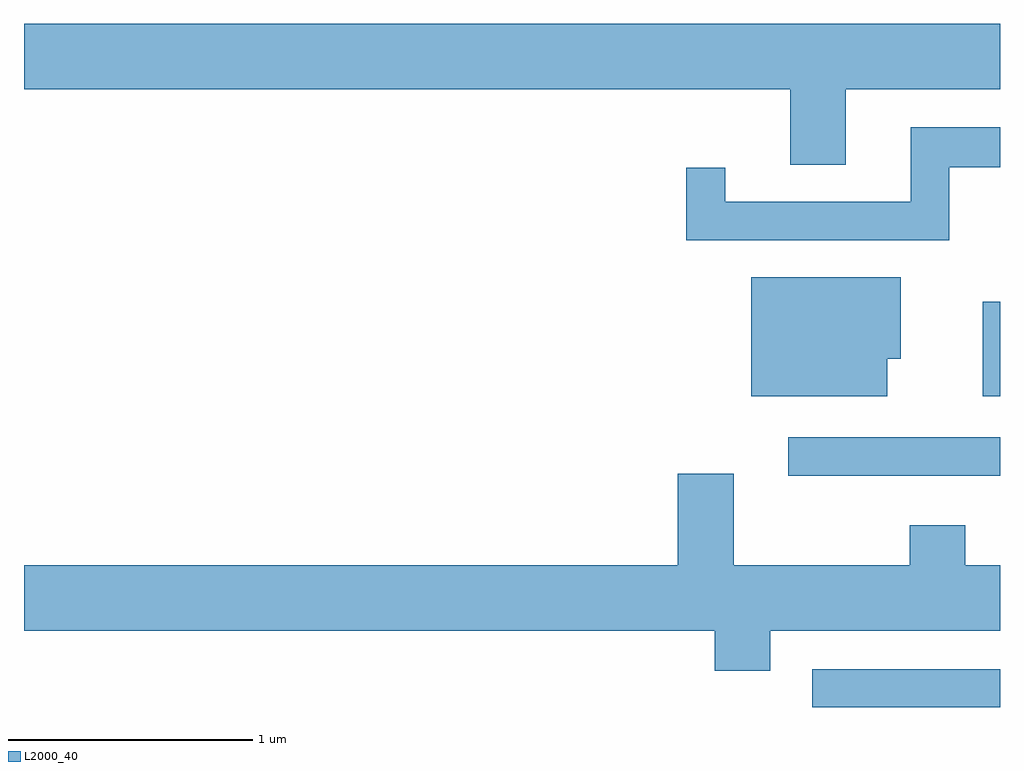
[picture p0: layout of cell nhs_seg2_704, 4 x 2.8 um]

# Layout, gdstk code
import gdstk
lib = gdstk.Library(unit=1e-6, precision=1e-09)
def R(c, l, rs):  # rectangles x0, y0, x1, y1
    for r in rs: c.add(gdstk.rectangle(r[:2], r[2:], *l))
def P(c, l, *ps):  # polygons
    for p in ps: c.add(gdstk.Polygon(p, *l))
L2000_40 = (2000, 40)

nhs_seg2_704 = lib.new_cell('nhs_seg2_704')
R(nhs_seg2_704, L2000_40, [(208.841,1025.802,209.611,1025.959), (208.743,1026.751,209.611,1026.909), (209.541,1027.076,209.611,1027.464)])
P(nhs_seg2_704, L2000_40, [(208.979,1028.336),(209.611,1028.336),(209.611,1028.604),(205.611,1028.604),(205.611,1028.336),(208.751,1028.336),(208.751,1028.026),(208.979,1028.026)],
  [(209.404,1028.016),(209.611,1028.016),(209.611,1028.179),(209.246,1028.179),(209.246,1027.874),(208.484,1027.874),(208.484,1028.013),(208.326,1028.013),(208.326,1027.716),(209.404,1027.716)],
  [(209.149,1027.231),(209.204,1027.231),(209.204,1027.564),(208.591,1027.564),(208.591,1027.076),(209.149,1027.076)],
  [(208.669,1026.116),(209.611,1026.116),(209.611,1026.384),(209.469,1026.384),(209.469,1026.549),(209.241,1026.549),(209.241,1026.384),(208.519,1026.384),(208.519,1026.759),(208.291,1026.759),(208.291,1026.384),(205.611,1026.384),(205.611,1026.116),(208.441,1026.116),(208.441,1025.951),(208.669,1025.951)])

lib.write_gds('nhs_seg2_704.gds')
